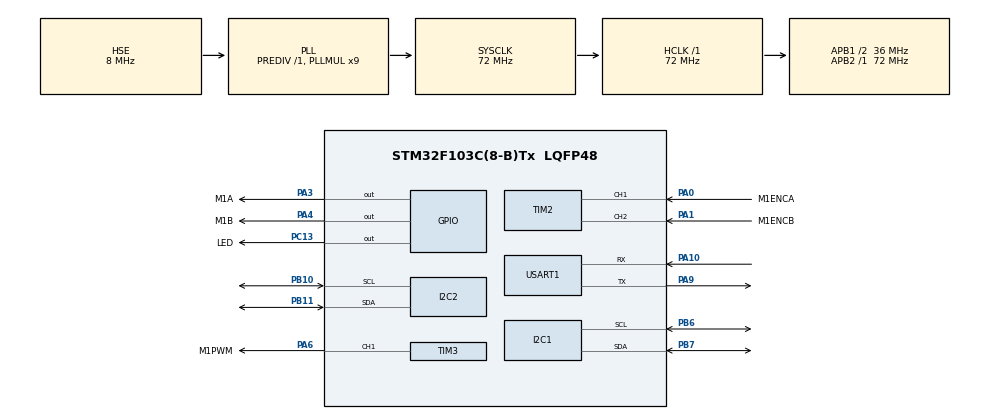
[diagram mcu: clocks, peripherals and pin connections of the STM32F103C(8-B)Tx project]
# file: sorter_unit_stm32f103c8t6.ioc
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I2C1.I2C_Mode=I2C_Fast
I2C1.NoStretchMode=I2C_NOSTRETCH_ENABLE
Mcu.Family=STM32F1
Mcu.Name=STM32F103C(8-B)Tx
Mcu.Package=LQFP48
NVIC.I2C1_ER_IRQn=true\:0\:0\:false\:false\:true\:true\:true\:true
NVIC.I2C1_EV_IRQn=true\:0\:0\:false\:false\:true\:true\:true\:true
NVIC.PriorityGroup=NVIC_PRIORITYGROUP_4
PA0-WKUP.GPIO_Label=M1ENCA
PA0-WKUP.Signal=S_TIM2_CH1_ETR
PA1.GPIO_Label=M1ENCB
PA1.Signal=S_TIM2_CH2
PA10.Mode=Asynchronous
PA10.Signal=USART1_RX
PA13.Mode=Serial_Wire
PA13.Signal=SYS_JTMS-SWDIO
PA14.Mode=Serial_Wire
PA14.Signal=SYS_JTCK-SWCLK
PA3.GPIO_Label=M1A
PA3.Signal=GPIO_Output
PA4.GPIO_Label=M1B
PA4.Signal=GPIO_Output
PA6.GPIO_Label=M1PWM
PA6.Signal=S_TIM3_CH1
PA9.Mode=Asynchronous
PA9.Signal=USART1_TX
PB10.Mode=I2C
PB10.Signal=I2C2_SCL
PB11.Mode=I2C
PB11.Signal=I2C2_SDA
PB6.GPIO_Mode=GPIO_MODE_AF_OD
PB6.GPIO_Speed=GPIO_SPEED_FREQ_HIGH
PB6.Mode=I2C
PB6.Signal=I2C1_SCL
PB7.GPIO_Mode=GPIO_MODE_AF_OD
PB7.GPIO_Speed=GPIO_SPEED_FREQ_HIGH
PB7.Mode=I2C
PB7.Signal=I2C1_SDA
PC13-TAMPER-RTC.GPIO_Label=LED
PC13-TAMPER-RTC.Signal=GPIO_Output
PD0-OSC_IN.Mode=HSE-External-Oscillator
PD0-OSC_IN.Signal=RCC_OSC_IN
PD1-OSC_OUT.Mode=HSE-External-Oscillator
PD1-OSC_OUT.Signal=RCC_OSC_OUT
ProjectManager.HeapSize=0x200
ProjectManager.StackSize=0x400
ProjectManager.TargetToolchain=CMake
RCC.AHBFreq_Value=72000000
RCC.APB1CLKDivider=RCC_HCLK_DIV2
RCC.APB1Freq_Value=36000000
RCC.APB1TimFreq_Value=72000000
RCC.APB2Freq_Value=72000000
RCC.APB2TimFreq_Value=72000000
RCC.HCLKFreq_Value=72000000
RCC.PLLMUL=RCC_PLL_MUL9
RCC.PLLSourceVirtual=RCC_PLLSOURCE_HSE
RCC.SYSCLKFreq_VALUE=72000000
RCC.SYSCLKSource=RCC_SYSCLKSOURCE_PLLCLK
RCC.USBFreq_Value=72000000
SH.S_TIM2_CH1_ETR.0=TIM2_CH1,Encoder_Interface
SH.S_TIM2_CH2.0=TIM2_CH2,Encoder_Interface
SH.S_TIM3_CH1.0=TIM3_CH1,PWM Generation1 CH1
TIM2.ClockDivision=TIM_CLOCKDIVISION_DIV4
TIM3.Channel-PWM\ Generation1\ CH1=TIM_CHANNEL_1
USART1.VirtualMode=VM_ASYNC
VP_TIM1_VS_ClockSourceINT.Mode=Internal
board=custom

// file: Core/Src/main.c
/* USER CODE BEGIN Header */
/**
  ******************************************************************************
  * @file           : main.c
  * @brief          : Main program body
  ******************************************************************************
  * @attention
  *
  * Copyright (c) 2026 STMicroelectronics.
  * All rights reserved.
  *
  * This software is licensed under terms that can be found in the LICENSE file
  * in the root directory of this software component.
  * If no LICENSE file comes with this software, it is provided AS-IS.
  *
  ******************************************************************************
  */
/* USER CODE END Header */
#include "main.h"
#include "i2c.h"
#include "tim.h"
#include "usart.h"
#include "gpio.h"

/* USER CODE BEGIN Includes */
#include "tcs3472.h"

#include <stdlib.h>
/* USER CODE END Includes */

/* USER CODE BEGIN PV */

uint8_t uart_tx_buffer[1];
uint8_t uart_rx_buffer[1];

/* USER CODE END PV */

void SystemClock_Config(void);

int main(void)
{

  /* MCU Configuration--------------------------------------------------------*/
  /* Reset of all peripherals, Initializes the Flash interface and the Systick. */  HAL_Init();

  /* Configure the system clock */
  SystemClock_Config();

  /* Initialize all configured peripherals */
  MX_GPIO_Init();
  MX_I2C1_Init();
  MX_USART1_UART_Init();
  MX_I2C2_Init();
  MX_TIM2_Init();
  MX_TIM3_Init();
  MX_TIM1_Init();
  /* USER CODE BEGIN 2 */

  HAL_TIM_Encoder_Start(&htim2, TIM_CHANNEL_ALL);
  HAL_TIM_PWM_Start(&htim3, TIM_CHANNEL_1);

  HAL_GPIO_WritePin(M1A_GPIO_Port, M1A_Pin, GPIO_PIN_RESET);
  HAL_GPIO_WritePin(M1B_GPIO_Port, M1B_Pin, GPIO_PIN_RESET);
  TIM3->CCR1 = 0;

  uint16_t min_threshold = 3000;
  uint16_t max_threshold = 65535;

  // Start UART recieving
  HAL_UART_Receive_IT(&huart1,uart_rx_buffer,1);
  /*
  if(tcs3472_init(&hi2c2)==HAL_OK)
  {
    uart_tx_buffer[0] = 0x67;
    HAL_UART_Transmit(&huart1, uart_tx_buffer, 1, 100);
  }
  else
  {
    uart_tx_buffer[0] = 0x00;
    HAL_UART_Transmit(&huart1, uart_tx_buffer, 1, 100);
  }

  uint16_t colors[4];
  */

  float motor_pid_setpoint = 288;
  float motor_pid_err = 0;
  float motor_pid_err_prev = 0;
  float motor_val = 0;
  float motor_p = 0;
  float motor_i = 0;
  float motor_d = 0;
  float motor_dt = 0;
  uint16_t prev_tim_val = 0;

  /* USER CODE END 2 */

  /* Infinite loop */
  /* USER CODE BEGIN WHILE */
  while (1)
  {
    motor_pid_err = motor_pid_setpoint-TIM2->CNT;
    motor_dt = HAL_GetTick() - prev_tim_val;
    motor_p = motor_pid_err;
    motor_i += motor_pid_err * motor_dt;
    motor_d = (motor_pid_err - motor_pid_err_prev) / motor_dt;
    motor_val = 500*motor_p + 0*motor_i + 3*motor_d;
    motor_pid_err_prev = motor_pid_err;
    prev_tim_val = HAL_GetTick();

    if(motor_val > 0)
    {
      HAL_GPIO_WritePin(M1A_GPIO_Port, M1A_Pin, GPIO_PIN_SET);
      HAL_GPIO_WritePin(M1B_GPIO_Port, M1B_Pin, GPIO_PIN_RESET);
    }
    else if(motor_val < 0)
    {
      HAL_GPIO_WritePin(M1A_GPIO_Port, M1A_Pin, GPIO_PIN_RESET);
      HAL_GPIO_WritePin(M1B_GPIO_Port, M1B_Pin, GPIO_PIN_SET);
    }
    else
    {
      HAL_GPIO_WritePin(M1A_GPIO_Port, M1A_Pin, GPIO_PIN_RESET);
      HAL_GPIO_WritePin(M1B_GPIO_Port, M1B_Pin, GPIO_PIN_RESET);
    }
    motor_val = abs(motor_val);
    if(motor_val > max_threshold) motor_val = max_threshold;
    else if(motor_val < min_threshold) motor_val = min_threshold;
    TIM3->CCR1 = (uint16_t)motor_val;
    HAL_Delay(1);
    /* USER CODE END WHILE */

  }
}

void SystemClock_Config(void)
{
  RCC_OscInitTypeDef RCC_OscInitStruct = {0};
  RCC_ClkInitTypeDef RCC_ClkInitStruct = {0};

  /** Initializes the RCC Oscillators according to the specified parameters
  * in the RCC_OscInitTypeDef structure.
  */
  RCC_OscInitStruct.OscillatorType = RCC_OSCILLATORTYPE_HSE;
  RCC_OscInitStruct.HSEState = RCC_HSE_ON;
  RCC_OscInitStruct.HSEPredivValue = RCC_HSE_PREDIV_DIV1;
  RCC_OscInitStruct.HSIState = RCC_HSI_ON;
  RCC_OscInitStruct.PLL.PLLState = RCC_PLL_ON;
  RCC_OscInitStruct.PLL.PLLSource = RCC_PLLSOURCE_HSE;
  RCC_OscInitStruct.PLL.PLLMUL = RCC_PLL_MUL9;
  if (HAL_RCC_OscConfig(&RCC_OscInitStruct) != HAL_OK)
  {
    Error_Handler();
  }

  /** Initializes the CPU, AHB and APB buses clocks
  */
  RCC_ClkInitStruct.ClockType = RCC_CLOCKTYPE_HCLK|RCC_CLOCKTYPE_SYSCLK
                              |RCC_CLOCKTYPE_PCLK1|RCC_CLOCKTYPE_PCLK2;
  RCC_ClkInitStruct.SYSCLKSource = RCC_SYSCLKSOURCE_PLLCLK;
  RCC_ClkInitStruct.AHBCLKDivider = RCC_SYSCLK_DIV1;
  RCC_ClkInitStruct.APB1CLKDivider = RCC_HCLK_DIV2;
  RCC_ClkInitStruct.APB2CLKDivider = RCC_HCLK_DIV1;

  if (HAL_RCC_ClockConfig(&RCC_ClkInitStruct, FLASH_LATENCY_2) != HAL_OK)
  {
    Error_Handler();
  }
}

/* USER CODE BEGIN 4 */

void HAL_UART_RxCpltCallback(UART_HandleTypeDef *huart)
{
  if(huart->Instance==USART1)
  {
    HAL_UART_Receive_IT(&huart1,uart_rx_buffer,1);
  }
}

/* USER CODE END 4 */

void Error_Handler(void)
{
  __disable_irq();
  while (1)
  {
  }
}
